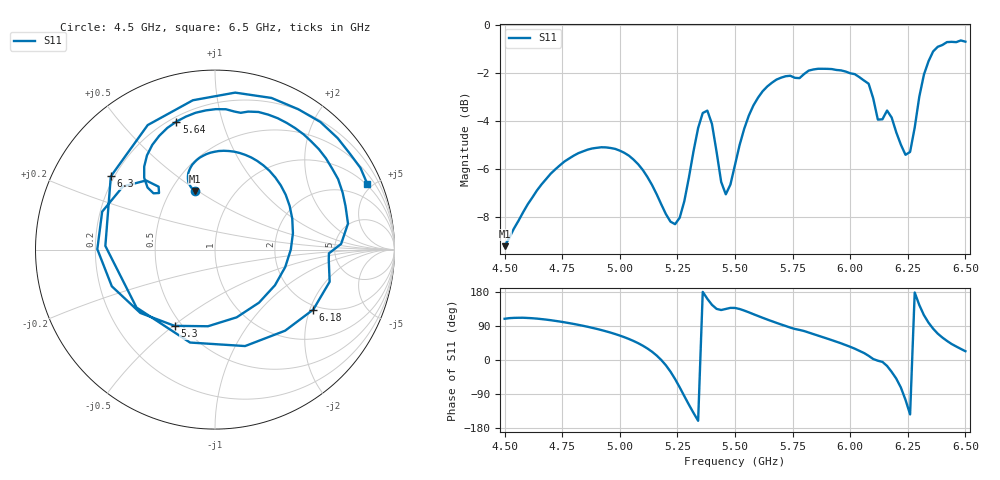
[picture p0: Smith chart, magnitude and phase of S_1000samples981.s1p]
! TOUCHSTONE file generated by CST MICROWAVE STUDIO
! Date and time: Sat Oct 29 23:56:22 2022
! Project name: L.cst
! Parameters = {Di=1.27; Epsilon_r=1.56; InnerDiameter=1.27; Length=2; Lf=10; Lg=60; OuterConductorThickness=0.2921; OuterDiameter=3.6; Wf=3; Wp=41.2; de=1.5; df=6.8; g=0.8; gx=0.588074; gy=2.45658; h=2.34; hf=1.524; px=12.7924; py=8.9095; w=9.7; wx=12.2043; wy=6.45293}
! Header version: 2018
! Port assignment regex: !\s*Touchstone port\s*([0-9]+)\s*=\s*(CST MWS port|CST DS port)\s*([0-9]+|Zmin|Zmax)\s*\(\"(.*)\"\)(\s*mode\s*([0-9]+))?.*
! Touchstone port assignment:
! Touchstone port 1 = CST MWS port 1 ("")
# GHz S DB R 50
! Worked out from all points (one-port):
!   101 points, 4.5 GHz to 6.5 GHz, reference 50 ohm
!   lowest |S11| = -9.2 dB at 4.5 GHz (marker M1), VSWR 2.06, Z = 32.8 + j24.4 ohm
!   |S11| at or under -10 dB: nowhere
!   S11 on the Smith chart (normalised r, x): 4.5 GHz: 0.66, +0.49; 5.3 GHz: 0.46, -0.50; 5.64 GHz: 0.22, +0.72; 6.18 GHz: 1.86, -2.11; 6.3 GHz: 0.19, +0.31; 6.5 GHz: 0.94, +4.69
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4.5  -9.23 108.8
4.76  -5.69 99.4
5  -5.24 64.5
5.16  -7.06 11.8
5.22  -8.21 -30.7
5.26  -8.04 -72.2
5.3  -6.36 -118.0
5.36  -3.67 179.8
5.4  -4.12 145.6
5.44  -6.55 131.9
5.5  -5.83 137.4
5.56  -3.77 125.8
5.64  -2.56 106.8
5.76  -2.20 81.9
5.88  -1.82 60.5
6  -2.01 34.9
6.08  -2.44 11.1
6.14  -3.93 -5.0
6.18  -3.86 -31.4
6.22  -4.99 -72.7
6.24  -5.41 -105.0
6.26  -5.29 -143.6
6.28  -4.28 178.1
6.3  -2.98 144.9
6.32  -2.06 118.4
6.36  -1.09 82.7
6.42  -0.70 50.4
6.5  -0.68 23.2
